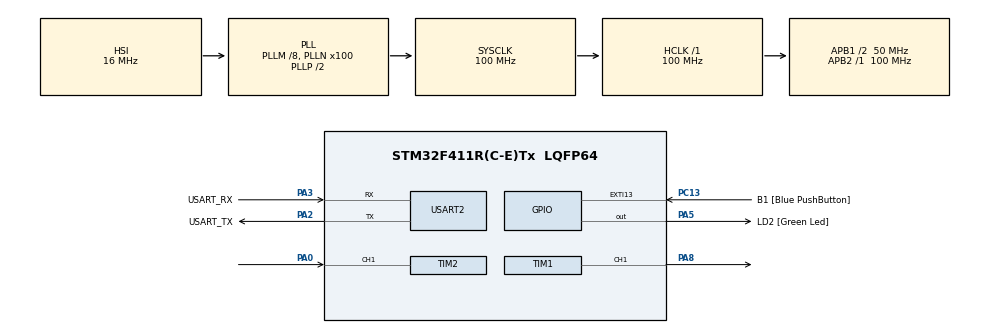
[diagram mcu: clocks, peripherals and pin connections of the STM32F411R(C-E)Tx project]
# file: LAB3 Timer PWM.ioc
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Dma.Request0=TIM2_CH1
Dma.TIM2_CH1.0.Direction=DMA_PERIPH_TO_MEMORY
Dma.TIM2_CH1.0.FIFOMode=DMA_FIFOMODE_DISABLE
Dma.TIM2_CH1.0.Instance=DMA1_Stream5
Dma.TIM2_CH1.0.MemDataAlignment=DMA_MDATAALIGN_WORD
Dma.TIM2_CH1.0.MemInc=DMA_MINC_ENABLE
Dma.TIM2_CH1.0.Mode=DMA_CIRCULAR
Dma.TIM2_CH1.0.PeriphDataAlignment=DMA_PDATAALIGN_WORD
Dma.TIM2_CH1.0.PeriphInc=DMA_PINC_DISABLE
Dma.TIM2_CH1.0.Priority=DMA_PRIORITY_LOW
Mcu.Family=STM32F4
Mcu.Name=STM32F411R(C-E)Tx
Mcu.Package=LQFP64
NVIC.DMA1_Stream5_IRQn=true\:0\:0\:false\:false\:true\:false\:true\:true
NVIC.PriorityGroup=NVIC_PRIORITYGROUP_0
PA0-WKUP.Signal=S_TIM2_CH1_ETR
PA13.GPIO_Label=TMS
PA13.Mode=Serial_Wire
PA13.Signal=SYS_JTMS-SWDIO
PA14.GPIO_Label=TCK
PA14.Mode=Serial_Wire
PA14.Signal=SYS_JTCK-SWCLK
PA2.GPIO_Label=USART_TX
PA2.Mode=Asynchronous
PA2.Signal=USART2_TX
PA3.GPIO_Label=USART_RX
PA3.Mode=Asynchronous
PA3.Signal=USART2_RX
PA5.GPIO_Label=LD2 [Green Led]
PA5.Signal=GPIO_Output
PA8.Signal=S_TIM1_CH1
PB3.GPIO_Label=SWO
PB3.Signal=SYS_JTDO-SWO
PC13-ANTI_TAMP.GPIO_Label=B1 [Blue PushButton]
PC13-ANTI_TAMP.GPIO_ModeDefaultEXTI=GPIO_MODE_IT_FALLING
PC13-ANTI_TAMP.Signal=GPXTI13
PC14-OSC32_IN.Mode=LSE-External-Oscillator
PC14-OSC32_IN.Signal=RCC_OSC32_IN
PC15-OSC32_OUT.Mode=LSE-External-Oscillator
PC15-OSC32_OUT.Signal=RCC_OSC32_OUT
PH0\ -\ OSC_IN.Mode=HSE-External-Clock-Source
PH0\ -\ OSC_IN.Signal=RCC_OSC_IN
PH1\ -\ OSC_OUT.Mode=HSE-External-Clock-Source
PH1\ -\ OSC_OUT.Signal=RCC_OSC_OUT
ProjectManager.HeapSize=0x200
ProjectManager.StackSize=0x400
ProjectManager.TargetToolchain=STM32CubeIDE
RCC.48MHZClocksFreq_Value=50000000
RCC.AHBFreq_Value=100000000
RCC.APB1CLKDivider=RCC_HCLK_DIV2
RCC.APB1Freq_Value=50000000
RCC.APB1TimFreq_Value=100000000
RCC.APB2Freq_Value=100000000
RCC.APB2TimFreq_Value=100000000
RCC.CortexFreq_Value=100000000
RCC.FLatency-AdvancedSettings=FLASH_LATENCY_3
RCC.HCLKFreq_Value=100000000
RCC.HSE_VALUE=8000000
RCC.HSI_VALUE=16000000
RCC.PLLM=8
RCC.PLLN=100
RCC.SYSCLKFreq_VALUE=100000000
RCC.SYSCLKSource=RCC_SYSCLKSOURCE_PLLCLK
RCC.VCOOutputFreq_Value=200000000
SH.S_TIM1_CH1.0=TIM1_CH1,PWM Generation1 CH1
SH.S_TIM2_CH1_ETR.0=TIM2_CH1,Input_Capture1_from_TI1
TIM1.Channel-PWM\ Generation1\ CH1=TIM_CHANNEL_1
TIM1.Period=99
TIM1.Prescaler=49
TIM1.Pulse-PWM\ Generation1\ CH1=50
TIM2.Channel-Input_Capture1_from_TI1=TIM_CHANNEL_1
TIM2.Prescaler=99
USART2.VirtualMode=VM_ASYNC
VP_TIM1_VS_ClockSourceINT.Mode=Internal
VP_TIM2_VS_ClockSourceINT.Mode=Internal
board=NUCLEO-F411RE

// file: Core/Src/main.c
/* USER CODE BEGIN Header */
/**
 ******************************************************************************
 * @file           : main.c
 * @brief          : Main program body
 ******************************************************************************
 * @attention
 *
 * Copyright (c) 2023 STMicroelectronics.
 * All rights reserved.
 *
 * This software is licensed under terms that can be found in the LICENSE file
 * in the root directory of this software component.
 * If no LICENSE file comes with this software, it is provided AS-IS.
 *
 ******************************************************************************
 */
/* USER CODE END Header */
#include "main.h"

/* USER CODE BEGIN PD */

#define IC_BUFFER_SIZE 20

/* USER CODE END PD */

TIM_HandleTypeDef htim1;
TIM_HandleTypeDef htim2;
DMA_HandleTypeDef hdma_tim2_ch1;

UART_HandleTypeDef huart2;

/* USER CODE BEGIN PV */

uint32_t InputCaptureBuffer[IC_BUFFER_SIZE];
float averageRisingedgePeriod;
uint32_t MotorReadRPM;
uint32_t MotorSetDuty = 50;

uint8_t MotorControlEnable = 0;
uint8_t MotorSetRPM = 10;

/* USER CODE END PV */

void SystemClock_Config(void);
static void MX_GPIO_Init(void);
static void MX_DMA_Init(void);
static void MX_USART2_UART_Init(void);
static void MX_TIM2_Init(void);
static void MX_TIM1_Init(void);
/* USER CODE BEGIN PFP */

float IC_Calc_Period();

/* USER CODE END PFP */

int main(void) {

	/* MCU Configuration--------------------------------------------------------*/

	/* Reset of all peripherals, Initializes the Flash interface and the Systick. */
	HAL_Init();

	/* Configure the system clock */
	SystemClock_Config();

	/* Initialize all configured peripherals */
	MX_GPIO_Init();
	MX_DMA_Init();
	MX_USART2_UART_Init();
	MX_TIM2_Init();
	MX_TIM1_Init();
	/* USER CODE BEGIN 2 */

	HAL_TIM_Base_Start(&htim2);
	HAL_TIM_IC_Start_DMA(&htim2, TIM_CHANNEL_1, InputCaptureBuffer, IC_BUFFER_SIZE);

	HAL_TIM_Base_Start(&htim1);
	HAL_TIM_PWM_Start(&htim1, TIM_CHANNEL_1);

	/* USER CODE END 2 */

	/* Infinite loop */
	/* USER CODE BEGIN WHILE */
	while (1) {
		static uint32_t timestamp = 0;
		if (HAL_GetTick() >= timestamp) {
			timestamp = HAL_GetTick() + 1;
			averageRisingedgePeriod = IC_Calc_Period();
			MotorReadRPM = (1000000.0 / averageRisingedgePeriod) * 60.0 / (12.0 * 64.0);
			__HAL_TIM_SET_COMPARE(&htim1, TIM_CHANNEL_1, MotorSetDuty);

			// closed loop control
			if (MotorControlEnable > 0) {
				MotorSetDuty = -0.002 * MotorSetRPM * MotorSetRPM * MotorSetRPM + 0.2537 * MotorSetRPM * MotorSetRPM + 0.467 * MotorSetRPM + 5.2922;
			}
		}

		/* USER CODE END WHILE */

	}
}

void SystemClock_Config(void) {
	RCC_OscInitTypeDef RCC_OscInitStruct = { 0 };
	RCC_ClkInitTypeDef RCC_ClkInitStruct = { 0 };

	/** Configure the main internal regulator output voltage
	 */
	__HAL_RCC_PWR_CLK_ENABLE();
	__HAL_PWR_VOLTAGESCALING_CONFIG(PWR_REGULATOR_VOLTAGE_SCALE1);

	/** Initializes the RCC Oscillators according to the specified parameters
	 * in the RCC_OscInitTypeDef structure.
	 */
	RCC_OscInitStruct.OscillatorType = RCC_OSCILLATORTYPE_HSI;
	RCC_OscInitStruct.HSIState = RCC_HSI_ON;
	RCC_OscInitStruct.HSICalibrationValue = RCC_HSICALIBRATION_DEFAULT;
	RCC_OscInitStruct.PLL.PLLState = RCC_PLL_ON;
	RCC_OscInitStruct.PLL.PLLSource = RCC_PLLSOURCE_HSI;
	RCC_OscInitStruct.PLL.PLLM = 8;
	RCC_OscInitStruct.PLL.PLLN = 100;
	RCC_OscInitStruct.PLL.PLLP = RCC_PLLP_DIV2;
	RCC_OscInitStruct.PLL.PLLQ = 4;
	if (HAL_RCC_OscConfig(&RCC_OscInitStruct) != HAL_OK) {
		Error_Handler();
	}

	/** Initializes the CPU, AHB and APB buses clocks
	 */
	RCC_ClkInitStruct.ClockType = RCC_CLOCKTYPE_HCLK | RCC_CLOCKTYPE_SYSCLK | RCC_CLOCKTYPE_PCLK1 | RCC_CLOCKTYPE_PCLK2;
	RCC_ClkInitStruct.SYSCLKSource = RCC_SYSCLKSOURCE_PLLCLK;
	RCC_ClkInitStruct.AHBCLKDivider = RCC_SYSCLK_DIV1;
	RCC_ClkInitStruct.APB1CLKDivider = RCC_HCLK_DIV2;
	RCC_ClkInitStruct.APB2CLKDivider = RCC_HCLK_DIV1;

	if (HAL_RCC_ClockConfig(&RCC_ClkInitStruct, FLASH_LATENCY_3) != HAL_OK) {
		Error_Handler();
	}
}

static void MX_TIM1_Init(void) {

	TIM_ClockConfigTypeDef sClockSourceConfig = { 0 };
	TIM_MasterConfigTypeDef sMasterConfig = { 0 };
	TIM_OC_InitTypeDef sConfigOC = { 0 };
	TIM_BreakDeadTimeConfigTypeDef sBreakDeadTimeConfig = { 0 };

	htim1.Instance = TIM1;
	htim1.Init.Prescaler = 49;
	htim1.Init.CounterMode = TIM_COUNTERMODE_UP;
	htim1.Init.Period = 99;
	htim1.Init.ClockDivision = TIM_CLOCKDIVISION_DIV1;
	htim1.Init.RepetitionCounter = 0;
	htim1.Init.AutoReloadPreload = TIM_AUTORELOAD_PRELOAD_DISABLE;
	if (HAL_TIM_Base_Init(&htim1) != HAL_OK) {
		Error_Handler();
	}
	sClockSourceConfig.ClockSource = TIM_CLOCKSOURCE_INTERNAL;
	if (HAL_TIM_ConfigClockSource(&htim1, &sClockSourceConfig) != HAL_OK) {
		Error_Handler();
	}
	if (HAL_TIM_PWM_Init(&htim1) != HAL_OK) {
		Error_Handler();
	}
	sMasterConfig.MasterOutputTrigger = TIM_TRGO_RESET;
	sMasterConfig.MasterSlaveMode = TIM_MASTERSLAVEMODE_DISABLE;
	if (HAL_TIMEx_MasterConfigSynchronization(&htim1, &sMasterConfig) != HAL_OK) {
		Error_Handler();
	}
	sConfigOC.OCMode = TIM_OCMODE_PWM1;
	sConfigOC.Pulse = 50;
	sConfigOC.OCPolarity = TIM_OCPOLARITY_HIGH;
	sConfigOC.OCNPolarity = TIM_OCNPOLARITY_HIGH;
	sConfigOC.OCFastMode = TIM_OCFAST_DISABLE;
	sConfigOC.OCIdleState = TIM_OCIDLESTATE_RESET;
	sConfigOC.OCNIdleState = TIM_OCNIDLESTATE_RESET;
	if (HAL_TIM_PWM_ConfigChannel(&htim1, &sConfigOC, TIM_CHANNEL_1) != HAL_OK) {
		Error_Handler();
	}
	sBreakDeadTimeConfig.OffStateRunMode = TIM_OSSR_DISABLE;
	sBreakDeadTimeConfig.OffStateIDLEMode = TIM_OSSI_DISABLE;
	sBreakDeadTimeConfig.LockLevel = TIM_LOCKLEVEL_OFF;
	sBreakDeadTimeConfig.DeadTime = 0;
	sBreakDeadTimeConfig.BreakState = TIM_BREAK_DISABLE;
	sBreakDeadTimeConfig.BreakPolarity = TIM_BREAKPOLARITY_HIGH;
	sBreakDeadTimeConfig.AutomaticOutput = TIM_AUTOMATICOUTPUT_DISABLE;
	if (HAL_TIMEx_ConfigBreakDeadTime(&htim1, &sBreakDeadTimeConfig) != HAL_OK) {
		Error_Handler();
	}
	HAL_TIM_MspPostInit(&htim1);

}

static void MX_TIM2_Init(void) {

	TIM_ClockConfigTypeDef sClockSourceConfig = { 0 };
	TIM_MasterConfigTypeDef sMasterConfig = { 0 };
	TIM_IC_InitTypeDef sConfigIC = { 0 };

	htim2.Instance = TIM2;
	htim2.Init.Prescaler = 99;
	htim2.Init.CounterMode = TIM_COUNTERMODE_UP;
	htim2.Init.Period = 4294967295;
	htim2.Init.ClockDivision = TIM_CLOCKDIVISION_DIV1;
	htim2.Init.AutoReloadPreload = TIM_AUTORELOAD_PRELOAD_DISABLE;
	if (HAL_TIM_Base_Init(&htim2) != HAL_OK) {
		Error_Handler();
	}
	sClockSourceConfig.ClockSource = TIM_CLOCKSOURCE_INTERNAL;
	if (HAL_TIM_ConfigClockSource(&htim2, &sClockSourceConfig) != HAL_OK) {
		Error_Handler();
	}
	if (HAL_TIM_IC_Init(&htim2) != HAL_OK) {
		Error_Handler();
	}
	sMasterConfig.MasterOutputTrigger = TIM_TRGO_RESET;
	sMasterConfig.MasterSlaveMode = TIM_MASTERSLAVEMODE_DISABLE;
	if (HAL_TIMEx_MasterConfigSynchronization(&htim2, &sMasterConfig) != HAL_OK) {
		Error_Handler();
	}
	sConfigIC.ICPolarity = TIM_INPUTCHANNELPOLARITY_RISING;
	sConfigIC.ICSelection = TIM_ICSELECTION_DIRECTTI;
	sConfigIC.ICPrescaler = TIM_ICPSC_DIV1;
	sConfigIC.ICFilter = 0;
	if (HAL_TIM_IC_ConfigChannel(&htim2, &sConfigIC, TIM_CHANNEL_1) != HAL_OK) {
		Error_Handler();
	}

}

static void MX_USART2_UART_Init(void) {

	huart2.Instance = USART2;
	huart2.Init.BaudRate = 115200;
	huart2.Init.WordLength = UART_WORDLENGTH_8B;
	huart2.Init.StopBits = UART_STOPBITS_1;
	huart2.Init.Parity = UART_PARITY_NONE;
	huart2.Init.Mode = UART_MODE_TX_RX;
	huart2.Init.HwFlowCtl = UART_HWCONTROL_NONE;
	huart2.Init.OverSampling = UART_OVERSAMPLING_16;
	if (HAL_UART_Init(&huart2) != HAL_OK) {
		Error_Handler();
	}

}

static void MX_DMA_Init(void) {

	/* DMA controller clock enable */
	__HAL_RCC_DMA1_CLK_ENABLE();

	/* DMA interrupt init */
	/* DMA1_Stream5_IRQn interrupt configuration */
	HAL_NVIC_SetPriority(DMA1_Stream5_IRQn, 0, 0);
	HAL_NVIC_EnableIRQ(DMA1_Stream5_IRQn);

}

static void MX_GPIO_Init(void) {
	GPIO_InitTypeDef GPIO_InitStruct = { 0 };

	/* GPIO Ports Clock Enable */
	__HAL_RCC_GPIOC_CLK_ENABLE();
	__HAL_RCC_GPIOH_CLK_ENABLE();
	__HAL_RCC_GPIOA_CLK_ENABLE();
	__HAL_RCC_GPIOB_CLK_ENABLE();

	/*Configure GPIO pin Output Level */
	HAL_GPIO_WritePin(LD2_GPIO_Port, LD2_Pin, GPIO_PIN_RESET);

	/*Configure GPIO pin : B1_Pin */
	GPIO_InitStruct.Pin = B1_Pin;
	GPIO_InitStruct.Mode = GPIO_MODE_IT_FALLING;
	GPIO_InitStruct.Pull = GPIO_NOPULL;
	HAL_GPIO_Init(B1_GPIO_Port, &GPIO_InitStruct);

	/*Configure GPIO pin : LD2_Pin */
	GPIO_InitStruct.Pin = LD2_Pin;
	GPIO_InitStruct.Mode = GPIO_MODE_OUTPUT_PP;
	GPIO_InitStruct.Pull = GPIO_NOPULL;
	GPIO_InitStruct.Speed = GPIO_SPEED_FREQ_LOW;
	HAL_GPIO_Init(LD2_GPIO_Port, &GPIO_InitStruct);

}

/* USER CODE BEGIN 4 */

float IC_Calc_Period() {
	uint32_t currentDMAPointer = IC_BUFFER_SIZE - __HAL_DMA_GET_COUNTER(htim2.hdma[1]);

	uint32_t lastValidDMAPointer = (currentDMAPointer - 1 + IC_BUFFER_SIZE) % IC_BUFFER_SIZE;

	uint32_t i = (lastValidDMAPointer + IC_BUFFER_SIZE - 5) % IC_BUFFER_SIZE;

	int32_t sumdiff = 0;
	while (i != lastValidDMAPointer) {
		uint32_t firstCapture = InputCaptureBuffer[i];

		uint32_t NextCapture = InputCaptureBuffer[(i + 1) % IC_BUFFER_SIZE];
		sumdiff += NextCapture - firstCapture;
		i = (i + 1) % IC_BUFFER_SIZE;
	}

	return sumdiff / 5.0;
}

/* USER CODE END 4 */

void Error_Handler(void) {
	__disable_irq();
	while (1) {
	}
}
